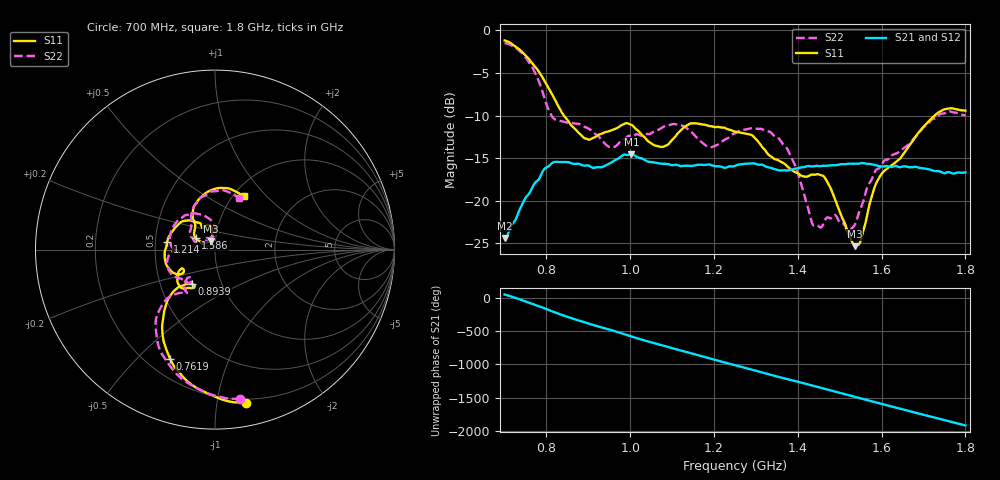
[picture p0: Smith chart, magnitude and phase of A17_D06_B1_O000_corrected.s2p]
! Created with skrf 1.9.0 (http://scikit-rf.org).
# Hz S RI R 50.0
!freq ReS11 ImS11 ReS21 ImS21 ReS12 ImS12 ReS22 ImS22
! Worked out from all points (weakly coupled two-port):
!   1601 points, 700 MHz to 1.8 GHz, reference 50 ohm
!   highest |S21| = -14.53 dB at 1.002 GHz (marker M1); lowest = -24.4 dB at 700 MHz (marker M2)
!   lowest |S11| = -25.3 dB at 1.536 GHz (marker M3), VSWR 1.11, Z = 47.4 + j4.6 ohm
!   |S11| at or under -10 dB: 841.5 MHz to 1.726 GHz (885 MHz wide, 68.9 % of centre)
!   |S22| runs from -23.6 to -1.5 dB; largest |S21 - S12| = 0.0035
!   S11 on the Smith chart (normalised r, x): 700 MHz: 0.17, -1.21; 761.9 MHz: 0.29, -0.63; 893.9 MHz: 0.72, -0.29; 1.214 GHz: 0.58, +0.06; 1.586 GHz: 0.80, +0.10; 1.8 GHz: 1.12, +0.75
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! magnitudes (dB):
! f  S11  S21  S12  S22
! 700 MHz  -1.2  -24.4  -24.1  -1.5
! 761.9 MHz  -3.6  -18.9  -18.8  -4.0
! 815.5 MHz  -7.7  -15.5  -15.6  -10.3
! 883.6 MHz  -12.3  -15.8  -15.7  -11.1
! 893.9 MHz  -12.7  -15.9  -15.9  -11.4
! 953 MHz  -11.8  -15.6  -15.6  -13.7
! 1.002 GHz  -11.1  -14.5  -14.6  -12.4
! 1.067 GHz  -13.6  -15.6  -15.6  -11.7
! 1.143 GHz  -10.9  -15.9  -15.9  -11.8
! 1.185 GHz  -11.2  -15.7  -15.8  -13.6
! 1.214 GHz  -11.4  -16.0  -16.0  -13.3
! 1.25 GHz  -11.9  -15.9  -15.8  -12.1
! 1.356 GHz  -15.3  -16.4  -16.4  -12.8
! 1.394 GHz  -16.7  -16.2  -16.2  -16.0
! 1.434 GHz  -16.9  -16.0  -15.9  -22.6
! 1.468 GHz  -17.6  -15.9  -15.9  -22.0
! 1.536 GHz  -25.3  -15.6  -15.7  -22.8
! 1.55 GHz  -24.6  -15.6  -15.6  -20.8
! 1.586 GHz  -18.0  -15.8  -15.8  -16.4
! 1.617 GHz  -16.1  -16.0  -15.9  -15.1
! 1.733 GHz  -9.7  -16.5  -16.6  -10.1
! 1.8 GHz  -9.4  -16.7  -16.7  -10.0
